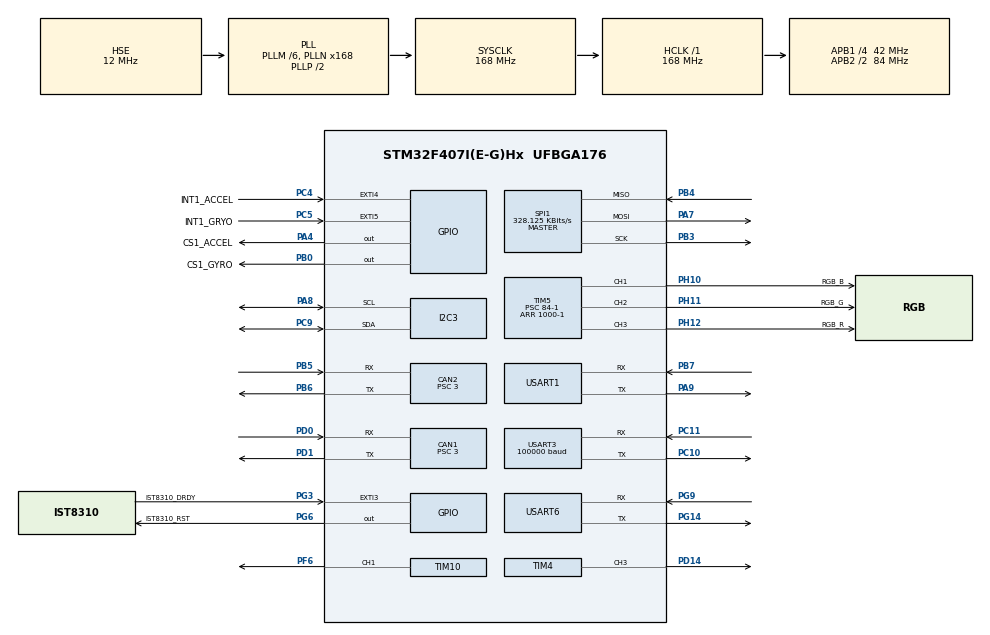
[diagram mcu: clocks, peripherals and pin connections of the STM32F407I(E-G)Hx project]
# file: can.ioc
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CAN1.BS1=CAN_BS1_10TQ
CAN1.BS2=CAN_BS2_3TQ
CAN1.CalculateBaudRate=1000000
CAN1.CalculateTimeQuantum=71.42857142857143
CAN1.Mode=CAN_MODE_NORMAL
CAN1.Prescaler=3
CAN2.BS1=CAN_BS1_10TQ
CAN2.BS2=CAN_BS2_3TQ
CAN2.CalculateBaudRate=1000000
CAN2.CalculateTimeBit=1000
CAN2.CalculateTimeQuantum=71.42857142857143
CAN2.Prescaler=3
Dma.Request0=USART3_RX
Dma.Request1=USART1_TX
Dma.Request2=SPI1_TX
Dma.Request3=SPI1_RX
Dma.SPI1_RX.3.Direction=DMA_PERIPH_TO_MEMORY
Dma.SPI1_RX.3.FIFOMode=DMA_FIFOMODE_DISABLE
Dma.SPI1_RX.3.Instance=DMA2_Stream2
Dma.SPI1_RX.3.MemDataAlignment=DMA_MDATAALIGN_BYTE
Dma.SPI1_RX.3.MemInc=DMA_MINC_ENABLE
Dma.SPI1_RX.3.Mode=DMA_NORMAL
Dma.SPI1_RX.3.PeriphDataAlignment=DMA_PDATAALIGN_BYTE
Dma.SPI1_RX.3.PeriphInc=DMA_PINC_DISABLE
Dma.SPI1_RX.3.Priority=DMA_PRIORITY_VERY_HIGH
Dma.SPI1_TX.2.Direction=DMA_MEMORY_TO_PERIPH
Dma.SPI1_TX.2.FIFOMode=DMA_FIFOMODE_DISABLE
Dma.SPI1_TX.2.Instance=DMA2_Stream3
Dma.SPI1_TX.2.MemDataAlignment=DMA_MDATAALIGN_BYTE
Dma.SPI1_TX.2.MemInc=DMA_MINC_ENABLE
Dma.SPI1_TX.2.Mode=DMA_NORMAL
Dma.SPI1_TX.2.PeriphDataAlignment=DMA_PDATAALIGN_BYTE
Dma.SPI1_TX.2.PeriphInc=DMA_PINC_DISABLE
Dma.SPI1_TX.2.Priority=DMA_PRIORITY_HIGH
Dma.USART1_TX.1.Direction=DMA_MEMORY_TO_PERIPH
Dma.USART1_TX.1.FIFOMode=DMA_FIFOMODE_DISABLE
Dma.USART1_TX.1.Instance=DMA2_Stream7
Dma.USART1_TX.1.MemDataAlignment=DMA_MDATAALIGN_BYTE
Dma.USART1_TX.1.MemInc=DMA_MINC_ENABLE
Dma.USART1_TX.1.Mode=DMA_NORMAL
Dma.USART1_TX.1.PeriphDataAlignment=DMA_PDATAALIGN_BYTE
Dma.USART1_TX.1.PeriphInc=DMA_PINC_DISABLE
Dma.USART1_TX.1.Priority=DMA_PRIORITY_VERY_HIGH
Dma.USART3_RX.0.Direction=DMA_PERIPH_TO_MEMORY
Dma.USART3_RX.0.FIFOMode=DMA_FIFOMODE_DISABLE
Dma.USART3_RX.0.Instance=DMA1_Stream1
Dma.USART3_RX.0.MemDataAlignment=DMA_MDATAALIGN_BYTE
Dma.USART3_RX.0.MemInc=DMA_MINC_ENABLE
Dma.USART3_RX.0.Mode=DMA_CIRCULAR
Dma.USART3_RX.0.PeriphDataAlignment=DMA_PDATAALIGN_BYTE
Dma.USART3_RX.0.PeriphInc=DMA_PINC_DISABLE
Dma.USART3_RX.0.Priority=DMA_PRIORITY_VERY_HIGH
I2C3.I2C_Mode=I2C_Fast
IWDG.Prescaler=IWDG_PRESCALER_16
IWDG.Reload=500
Mcu.Family=STM32F4
Mcu.Name=STM32F407I(E-G)Hx
Mcu.Package=UFBGA176
NVIC.CAN1_RX0_IRQn=true\:0\:0\:false\:false\:true\:true\:true\:true
NVIC.CAN1_RX1_IRQn=true\:0\:0\:false\:false\:true\:true\:true\:true
NVIC.CAN2_RX0_IRQn=true\:0\:0\:false\:false\:true\:true\:true\:true
NVIC.CAN2_RX1_IRQn=true\:0\:0\:false\:false\:true\:true\:true\:true
NVIC.DMA1_Stream1_IRQn=true\:1\:1\:true\:false\:true\:false\:true\:true
NVIC.DMA2_Stream2_IRQn=true\:0\:0\:false\:false\:true\:false\:true\:true
NVIC.DMA2_Stream3_IRQn=true\:0\:0\:false\:false\:true\:false\:true\:true
NVIC.DMA2_Stream7_IRQn=true\:0\:0\:false\:false\:true\:false\:true\:true
NVIC.EXTI3_IRQn=true\:0\:0\:false\:false\:true\:true\:true\:true
NVIC.EXTI4_IRQn=true\:0\:0\:false\:false\:true\:true\:true\:true
NVIC.EXTI9_5_IRQn=true\:0\:0\:false\:false\:true\:true\:true\:true
NVIC.PriorityGroup=NVIC_PRIORITYGROUP_2
NVIC.TIM1_TRG_COM_TIM11_IRQn=true\:0\:0\:false\:false\:true\:true\:true\:true
NVIC.TIM6_DAC_IRQn=true\:3\:3\:true\:false\:true\:true\:true\:true
NVIC.TIM7_IRQn=true\:2\:2\:true\:false\:true\:true\:true\:true
NVIC.USART1_IRQn=true\:0\:0\:false\:false\:true\:true\:true\:true
NVIC.USART3_IRQn=true\:0\:0\:false\:false\:true\:true\:true\:true
NVIC.USART6_IRQn=true\:1\:1\:true\:false\:true\:true\:true\:true
PA13.Mode=Serial_Wire
PA13.Signal=SYS_JTMS-SWDIO
PA14.Mode=Serial_Wire
PA14.Signal=SYS_JTCK-SWCLK
PA4.GPIO_Label=CS1_ACCEL
PA4.GPIO_PuPd=GPIO_PULLUP
PA4.GPIO_Speed=GPIO_SPEED_FREQ_HIGH
PA4.PinState=GPIO_PIN_SET
PA4.Signal=GPIO_Output
PA7.Mode=Full_Duplex_Master
PA7.Signal=SPI1_MOSI
PA8.Mode=I2C
PA8.Signal=I2C3_SCL
PA9.Mode=Asynchronous
PA9.Signal=USART1_TX
PB0.GPIO_Label=CS1_GYRO
PB0.GPIO_PuPd=GPIO_PULLUP
PB0.GPIO_Speed=GPIO_SPEED_FREQ_HIGH
PB0.PinState=GPIO_PIN_SET
PB0.Signal=GPIO_Output
PB3.Mode=Full_Duplex_Master
PB3.Signal=SPI1_SCK
PB4.Mode=Full_Duplex_Master
PB4.Signal=SPI1_MISO
PB5.Mode=CAN_Activate
PB5.Signal=CAN2_RX
PB6.Mode=CAN_Activate
PB6.Signal=CAN2_TX
PB7.Mode=Asynchronous
PB7.Signal=USART1_RX
PC10.Mode=Asynchronous
PC10.Signal=USART3_TX
PC11.Mode=Asynchronous
PC11.Signal=USART3_RX
PC4.GPIO_Label=INT1_ACCEL
PC4.GPIO_PuPd=GPIO_PULLUP
PC4.Signal=GPXTI4
PC5.GPIO_Label=INT1_GRYO
PC5.GPIO_PuPd=GPIO_PULLUP
PC5.Signal=GPXTI5
PC9.Mode=I2C
PC9.Signal=I2C3_SDA
PD0.Mode=CAN_Activate
PD0.Signal=CAN1_RX
PD1.Mode=CAN_Activate
PD1.Signal=CAN1_TX
PD14.GPIO_PuPd=GPIO_PULLUP
PD14.GPIO_Speed=GPIO_SPEED_FREQ_HIGH
PD14.Signal=S_TIM4_CH3
PF6.GPIO_PuPd=GPIO_PULLUP
PF6.GPIO_Speed=GPIO_SPEED_FREQ_HIGH
PF6.Signal=S_TIM10_CH1
PG14.Mode=Asynchronous
PG14.Signal=USART6_TX
PG3.GPIO_Label=IST8310_DRDY
PG3.GPIO_PuPd=GPIO_PULLUP
PG3.Signal=GPXTI3
PG6.GPIO_Label=IST8310_RST
PG6.GPIO_PuPd=GPIO_PULLUP
PG6.GPIO_Speed=GPIO_SPEED_FREQ_MEDIUM
PG6.PinState=GPIO_PIN_SET
PG6.Signal=GPIO_Output
PG9.Mode=Asynchronous
PG9.Signal=USART6_RX
PH0-OSC_IN.Mode=HSE-External-Oscillator
PH0-OSC_IN.Signal=RCC_OSC_IN
PH1-OSC_OUT.Mode=HSE-External-Oscillator
PH1-OSC_OUT.Signal=RCC_OSC_OUT
PH10.GPIO_Label=RGB_B
PH10.GPIO_PuPd=GPIO_PULLUP
PH10.GPIO_Speed=GPIO_SPEED_FREQ_VERY_HIGH
PH10.Signal=S_TIM5_CH1
PH11.GPIO_Label=RGB_G
PH11.GPIO_PuPd=GPIO_PULLUP
PH11.GPIO_Speed=GPIO_SPEED_FREQ_VERY_HIGH
PH11.Signal=S_TIM5_CH2
PH12.GPIO_Label=RGB_R
PH12.GPIO_PuPd=GPIO_PULLUP
PH12.GPIO_Speed=GPIO_SPEED_FREQ_VERY_HIGH
PH12.Signal=S_TIM5_CH3
ProjectManager.HeapSize=0x200
ProjectManager.StackSize=0x400
ProjectManager.TargetToolchain=MDK-ARM V5
RCC.48MHZClocksFreq_Value=84000000
RCC.AHBFreq_Value=168000000
RCC.APB1CLKDivider=RCC_HCLK_DIV4
RCC.APB1Freq_Value=42000000
RCC.APB1TimFreq_Value=84000000
RCC.APB2CLKDivider=RCC_HCLK_DIV2
RCC.APB2Freq_Value=84000000
RCC.APB2TimFreq_Value=168000000
RCC.CortexFreq_Value=168000000
RCC.HCLKFreq_Value=168000000
RCC.HSE_VALUE=12000000
RCC.HSI_VALUE=16000000
RCC.LSE_VALUE=32768
RCC.PLLM=6
RCC.PLLN=168
RCC.PLLSourceVirtual=RCC_PLLSOURCE_HSE
RCC.SYSCLKFreq_VALUE=168000000
RCC.SYSCLKSource=RCC_SYSCLKSOURCE_PLLCLK
RCC.VCOOutputFreq_Value=336000000
SH.S_TIM10_CH1.0=TIM10_CH1,PWM Generation1 CH1
SH.S_TIM4_CH3.0=TIM4_CH3,PWM Generation3 CH3
SH.S_TIM5_CH1.0=TIM5_CH1,PWM Generation1 CH1
SH.S_TIM5_CH2.0=TIM5_CH2,PWM Generation2 CH2
SH.S_TIM5_CH3.0=TIM5_CH3,PWM Generation3 CH3
SPI1.BaudRatePrescaler=SPI_BAUDRATEPRESCALER_256
SPI1.CLKPhase=SPI_PHASE_2EDGE
SPI1.CLKPolarity=SPI_POLARITY_HIGH
SPI1.CalculateBaudRate=328.125 KBits/s
SPI1.Direction=SPI_DIRECTION_2LINES
SPI1.Mode=SPI_MODE_MASTER
SPI1.VirtualType=VM_MASTER
TIM10.Channel=TIM_CHANNEL_1
TIM10.Period=5000-1
TIM11.Period=21000-1
TIM11.Prescaler=1000-1
TIM4.Channel-PWM\ Generation3\ CH3=TIM_CHANNEL_3
TIM4.Period=10-1
TIM4.Prescaler=19091-1
TIM5.Channel-PWM\ Generation1\ CH1=TIM_CHANNEL_1
TIM5.Channel-PWM\ Generation2\ CH2=TIM_CHANNEL_2
TIM5.Channel-PWM\ Generation3\ CH3=TIM_CHANNEL_3
TIM5.Period=1000-1
TIM5.Prescaler=84-1
TIM5.Pulse-PWM\ Generation1\ CH1=0
TIM5.Pulse-PWM\ Generation2\ CH2=0
TIM5.Pulse-PWM\ Generation3\ CH3=0
TIM6.Period=500-1
TIM6.Prescaler=336-1
TIM7.Period=21000-1
TIM7.Prescaler=1000-1
USART1.VirtualMode=VM_ASYNC
USART3.BaudRate=100000
USART3.Mode=MODE_RX
USART3.Parity=PARITY_EVEN
USART3.VirtualMode=VM_ASYNC
USART3.WordLength=WORDLENGTH_8B
USART6.VirtualMode=VM_ASYNC
VP_IWDG_VS_IWDG.Mode=IWDG_Activate
VP_TIM10_VS_ClockSourceINT.Mode=Enable_Timer
VP_TIM11_VS_ClockSourceINT.Mode=Enable_Timer
VP_TIM4_VS_ClockSourceINT.Mode=Internal
VP_TIM5_VS_ClockSourceINT.Mode=Internal
VP_TIM6_VS_ClockSourceINT.Mode=Enable_Timer
VP_TIM7_VS_ClockSourceINT.Mode=Enable_Timer
board=custom

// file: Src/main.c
/* USER CODE BEGIN Header */
/**
  ******************************************************************************
  * @file           : main.c
  * @brief          : Main program body
  ******************************************************************************
  * @attention
  *
  * <h2><center>&copy; Copyright (c) 2019 STMicroelectronics.
  * All rights reserved.</center></h2>
  *
  * This software component is licensed by ST under BSD 3-Clause license,
  * the "License"; You may not use this file except in compliance with the
  * License. You may obtain a copy of the License at:
  *                        opensource.org/licenses/BSD-3-Clause
  *
  ******************************************************************************
  */
/* USER CODE END Header */
#include "main.h"
#include "can.h"
#include "dma.h"
#include "i2c.h"
#include "iwdg.h"
#include "spi.h"
#include "tim.h"
#include "usart.h"
#include "gpio.h"

/* USER CODE BEGIN Includes */
#include <string.h>
#include <stdint.h>
#include "task.h"
#include "bsp_can.h"
#include "bsp_usart.h"
#include "ist8310driver.h"
#include "BMI088.h"
#include "BMI088driver.h"
#include "Motor.h"
#include "Remote.h"
#include "PID.h"
#include "LED.h"
#include "Buzzer.h"
#include "Gimbal_Yaw_Small.h"
#include "Gimbal_Trigger.h"
#include "Gimbal_Shoot.h"
#include "Gimbal_Pitch.h"
#include "Gimbal_PoseCalc.h"

/* USER CODE END Includes */

/* USER CODE BEGIN PTD */
//===============文件内部类型和宏

/* USER CODE END PTD */

/* USER CODE BEGIN PD */
//===============文件内部的宏定义

/* USER CODE END PD */

/* USER CODE BEGIN PM */
//===============文件内部宏定义的标记

/* USER CODE END PM */

/* USER CODE BEGIN PV */
//===============私有变量

extern uint8_t rx_data[8];//can_receive.c
extern PID_PositionInitTypedef Trigger_SpeedPID;
extern PID_PositionInitTypedef BigYaw_SpeedPID;
extern PID_PositionInitTypedef BigYaw_PositionPID;
extern PID_PositionInitTypedef SmallYaw_SpeedPID;
extern PID_PositionInitTypedef SmallYaw_PositionPID;
extern PID_PositionInitTypedef SmallYaw_GyroscopePID;
extern PID_PositionInitTypedef ShootLeft_SpeedPID;
extern PID_PositionInitTypedef ShootRight_SpeedPID;
extern M3508_Motor Can1_M3508_MotorStatus[8];//M3508电机状态数组
extern M3508_Motor Can2_M3508_MotorStatus[8];//M3508电机状态数组
extern M6020_Motor Can1_M6020_MotorStatus[7];//GM6020电机状态数组
extern M6020_Motor Can2_M6020_MotorStatus[7];//GM6020电机状态数组
extern M2006_Motor Can1_M2006_MotorStatus[8];//M2006电机状态数组
extern M2006_Motor Can2_M2006_MotorStatus[8];//M2006电机状态数组
extern RC_ctrl_t *local_rc_ctrl;
extern uint8_t Remote_Status;     //遥控器连接状态,默认未连接(0)
extern BMI088_Init_typedef BMI088_Data;
extern BMI088_Init_typedef Can_BMI088_Data;
extern BMI088_Init_typedef BigYaw_BMI088_Data;		//大yaw轴解算的陀螺仪数据
extern BMI088_Init_typedef SmallYaw_BMI088_Data;	//小yaw轴解算的陀螺仪数据

uint8_t uart6_rx_buf[1];  // 注意：你代码里写的uart1_rx_buf可能是笔误，要和huart6对应
uint8_t uart6_rx_flag = 0; // 接收完成标志（可选）

extern float gyro_needvalue ;//用户目标角度
extern TX_MiniPC_Struct TX_MiniPC_Data;

uint8_t rx_byte;//串口中断回调函数缓冲区
/* USER CODE END PV */

void SystemClock_Config(void);
/* USER CODE BEGIN PFP */
//===============私有函数原型
void RM_debug(void);

/* USER CODE END PFP */

/* USER CODE BEGIN 0 */

	void HAL_GPIO_EXTI_Callback(uint16_t GPIO_Pin)
	{
			if(GPIO_Pin == IST8310_DRDY_Pin)
			{
//					ist8310_read_mag(mag);
			}

	}
/* USER CODE END 0 */

int main(void)
{

  /* MCU Configuration--------------------------------------------------------*/

  /* Reset of all peripherals, Initializes the Flash interface and the Systick. */
  HAL_Init();

  /* Configure the system clock */
  SystemClock_Config();

  /* Initialize all configured peripherals */
  MX_GPIO_Init();
  MX_DMA_Init();
  MX_CAN1_Init();
  MX_CAN2_Init();
  MX_USART1_UART_Init();
  MX_USART3_UART_Init();
  MX_TIM6_Init();
//  MX_IWDG_Init();
  MX_I2C3_Init();
  MX_SPI1_Init();
  MX_TIM10_Init();
  MX_TIM5_Init();
  MX_TIM4_Init();
  MX_USART6_UART_Init();
  MX_TIM7_Init();
  MX_TIM11_Init();
  /* USER CODE BEGIN 2 */
	HAL_TIM_Base_Start_IT(&htim6);
	HAL_TIM_Base_Start_IT(&htim7);
	HAL_TIM_Base_Start_IT(&htim11);
  Can_Filter_Init();

  Remote_Init();
	LED_Init();
	Buzzer_Init();
  Gimbal_YawSmall_Init();
  Gimbal_YawBig_Init();
	Gimbal_Trigger_Init();
	Gimbal_Shoot_Init();
	Gimbal_Pitch_Init();

	//=================
  ist8310_init();

	HAL_UART_Receive_IT(&huart6, uart6_rx_buf, 1);

	UART2_SendString("RM GOOOO!");
//	Buzzer_On();

	//=================

  /* USER CODE END 2 */

  /* Infinite loop */
  /* USER CODE BEGIN WHILE */
  while (1)
  {
//		FloatsToBytesStruct(SmallYaw_BMI088_Data.Yaw,
//												Can_BMI088_Data.Gyro[0],Can_BMI088_Data.Gyro[1],Can_BMI088_Data.Gyro[2],
//												&TX_MiniPC_Data);
//		UART6_SendByte(0xBB);
//		UART6_SendByte(0x77);
//		UART6_SendString(&TX_MiniPC_Data.data[0]);
		UART6_SendByte(0xCC);
		UART6_SendByte(0xEE);

//		HAL_Delay(2000);
//		RM_debug();
		Gimbal_Warning_Remote();
//    Gimbal_Warning_Music();

		Gimbal_PoseCalc();

		// ============磁力计和陀螺仪数据============
//		UART2_SendByte(',');
		UART2_SendFloat_Sign(Can_BMI088_Data.Yaw,4);
		UART2_SendByte(',');
		UART2_SendFloat_Sign(BigYaw_BMI088_Data.Yaw,4);
		UART2_SendByte(',');
		UART2_SendFloat_Sign(SmallYaw_BMI088_Data.Yaw,4);
		UART2_SendByte(',');

		UART2_SendFloat_Sign(gyro_needvalue,4);//用户目标角度
		UART2_SendByte(',');
		UART2_SendFloat_Sign(SmallYaw_BMI088_Data.Yaw,4);//实际角度
		UART2_SendByte(',');
		UART2_SendFloat_Sign(SmallYaw_GyroscopePID.Need_Value,4);//电机目标角度
//		UART2_SendByte(',');
		// ============遥控器数据============
		{
//		UART2_SendNumber(local_rc_ctrl->rc.ch[0]+1024,4);//右摇杆左右
//		UART2_SendByte(',');
//		UART2_SendNumber(local_rc_ctrl->rc.ch[1]+1024,4);//右摇杆上下
//		UART2_SendByte(',');
//		UART2_SendNumber(local_rc_ctrl->rc.ch[2]+1024,4);//左摇杆左右
//		UART2_SendByte(',');
//		UART2_SendNumber(local_rc_ctrl->rc.ch[3]+1024,4);//左摇杆上下
//		UART2_SendByte(',');
//		UART2_SendNumber(local_rc_ctrl->rc.ch[4]+1024,4);
//		UART2_SendByte(',');
//		UART2_SendNumber(local_rc_ctrl->rc.s[0],4);
//		UART2_SendByte(',');
//		UART2_SendNumber(local_rc_ctrl->rc.s[1],4);
//		UART2_SendByte(',');
		}

		// ============电机PID数据============
		{
//		UART2_SendNumber(BigYaw_SpeedPID.Need_Value,4);//大yaw
//		UART2_SendByte(',');
//		UART2_SendNumber(BigYaw_SpeedPID.Now_Value,4);
//		UART2_SendByte(',');
//		UART2_SendNumber(BigYaw_PositionPID.Need_Value,4);
//		UART2_SendByte(',');
//		UART2_SendNumber(BigYaw_PositionPID.Now_Value,4);
//		UART2_SendByte(',');
//		UART2_SendFloat_Sign(SmallYaw_SpeedPID.Need_Value,4);//小waw
//		UART2_SendByte(',');
//		UART2_SendFloat_Sign(SmallYaw_SpeedPID.Now_Value,4);
//		UART2_SendByte(',');
//		UART2_SendFloat_Sign(SmallYaw_GyroscopePID.Need_Value,4);
//		UART2_SendByte(',');
//		UART2_SendFloat_Sign(SmallYaw_GyroscopePID.Now_Value,4);
//		UART2_SendByte(',');
//		UART2_SendNumber(ShootRight_SpeedPID.Need_Value,4);//发射机构
//		UART2_SendByte(',');
//		UART2_SendNumber(ShootRight_SpeedPID.Now_Value,4);
//		UART2_SendByte(',');
//		UART2_SendNumber(ShootLeft_SpeedPID.Need_Value,4);
//		UART2_SendByte(',');
//		UART2_SendNumber(ShootRight_SpeedPID.Now_Value,4);
//		UART2_SendByte(',');
//		UART2_SendNumber(Trigger_SpeedPID.Need_Value,4);//拨弹盘
//		UART2_SendByte(',');
		}

		UART2_SendByte('\n');
//		HAL_Delay(10);

    /* USER CODE END WHILE */

  }
}

void SystemClock_Config(void)
{
  RCC_OscInitTypeDef RCC_OscInitStruct = {0};
  RCC_ClkInitTypeDef RCC_ClkInitStruct = {0};

  /** Configure the main internal regulator output voltage
  */
  __HAL_RCC_PWR_CLK_ENABLE();
  __HAL_PWR_VOLTAGESCALING_CONFIG(PWR_REGULATOR_VOLTAGE_SCALE1);

  /** Initializes the RCC Oscillators according to the specified parameters
  * in the RCC_OscInitTypeDef structure.
  */
  RCC_OscInitStruct.OscillatorType = RCC_OSCILLATORTYPE_LSI|RCC_OSCILLATORTYPE_HSE;
  RCC_OscInitStruct.HSEState = RCC_HSE_ON;
  RCC_OscInitStruct.LSIState = RCC_LSI_ON;
  RCC_OscInitStruct.PLL.PLLState = RCC_PLL_ON;
  RCC_OscInitStruct.PLL.PLLSource = RCC_PLLSOURCE_HSE;
  RCC_OscInitStruct.PLL.PLLM = 6;
  RCC_OscInitStruct.PLL.PLLN = 168;
  RCC_OscInitStruct.PLL.PLLP = RCC_PLLP_DIV2;
  RCC_OscInitStruct.PLL.PLLQ = 4;
  if (HAL_RCC_OscConfig(&RCC_OscInitStruct) != HAL_OK)
  {
    Error_Handler();
  }

  /** Initializes the CPU, AHB and APB buses clocks
  */
  RCC_ClkInitStruct.ClockType = RCC_CLOCKTYPE_HCLK|RCC_CLOCKTYPE_SYSCLK
                              |RCC_CLOCKTYPE_PCLK1|RCC_CLOCKTYPE_PCLK2;
  RCC_ClkInitStruct.SYSCLKSource = RCC_SYSCLKSOURCE_PLLCLK;
  RCC_ClkInitStruct.AHBCLKDivider = RCC_SYSCLK_DIV1;
  RCC_ClkInitStruct.APB1CLKDivider = RCC_HCLK_DIV4;
  RCC_ClkInitStruct.APB2CLKDivider = RCC_HCLK_DIV2;

  if (HAL_RCC_ClockConfig(&RCC_ClkInitStruct, FLASH_LATENCY_5) != HAL_OK)
  {
    Error_Handler();
  }
}

/* USER CODE BEGIN 4 */
void HAL_CAN_RxFifo0MsgPendingCallback(CAN_HandleTypeDef *hcan)
{
    CAN_RxHeaderTypeDef rx_header;
    uint8_t rx_data[8];
		static int temp = 0;

    // 读取接收到的消息
    if (HAL_CAN_GetRxMessage(hcan, CAN_RX_FIFO0, &rx_header, rx_data) != HAL_OK)
        return; // 安全检查

    // 只处理标准帧
    if (rx_header.IDE != CAN_ID_STD)
        return;

    // 根据 CAN 外设实例区分总线
    if (hcan == &hcan1)
    {
        switch (rx_header.StdId)
			{
					case 0x201:
							CAN1_M3508_DataProcess(0x201,rx_data);break;
					case 0x202:
							CAN1_M3508_DataProcess(0x202,rx_data);break;
					case 0x203:
							break;
					case 0x204:
							break;
					case 0x205:
							break;
					case 0x206:
							CAN1_M6020_DataProcess(0x206,rx_data);break;
					case 0x207:
							CAN1_M2006_DataProcess(0x207,rx_data);break;
					default:
					{
							break;
					}
			}
    }
    else if (hcan == &hcan2)
    {
				switch (rx_header.StdId)
			{
					case 0x201:
							break;
					case 0x202:
							break;
					case 0x203:
							break;
					case 0x204:
							break;
					case 0x205:
							CAN2_M6020_DataProcess(0x205,rx_data);break;
					case 0x206:
							CAN2_M6020_DataProcess(0x206,rx_data);break;
					case 0x207:
							break;
					case 0x208:
							break;
					case 0x146:
							CToC_AngleProcess(0x146,rx_data,&Can_BMI088_Data);break;
					default:
					{
							break;
					}
			}
    }
}

void HAL_UART_RxCpltCallback(UART_HandleTypeDef *huart)
{
  if (huart->Instance == USART1)
  {

    HAL_UART_Transmit(&huart1, &rx_byte, 1, HAL_MAX_DELAY);
    HAL_UART_Receive_IT(&huart1, &rx_byte, 1);
    HAL_UART_Receive_DMA(&huart1, &rx_byte, 1);
  }

//  else if (huart->Instance == USART6)
//	{
//      HAL_UART_Transmit(&huart6, uart6_rx_buf, 1, 100);
//      uart6_rx_flag = 1; // 标记有数据接收
//
//      HAL_UART_Receive_IT(&huart6, uart6_rx_buf, 1);
//  }
}

void RM_debug(void)
{
  PROCESSOR(1000);
	if(local_rc_ctrl->rc.ch[4] >= 1)
		local_rc_ctrl->rc.ch[4] = 0;
	else if(local_rc_ctrl->rc.ch[4] == 0 )
		local_rc_ctrl->rc.ch[4] = 100;
}

/* USER CODE END 4 */

void Error_Handler(void)
{
}
